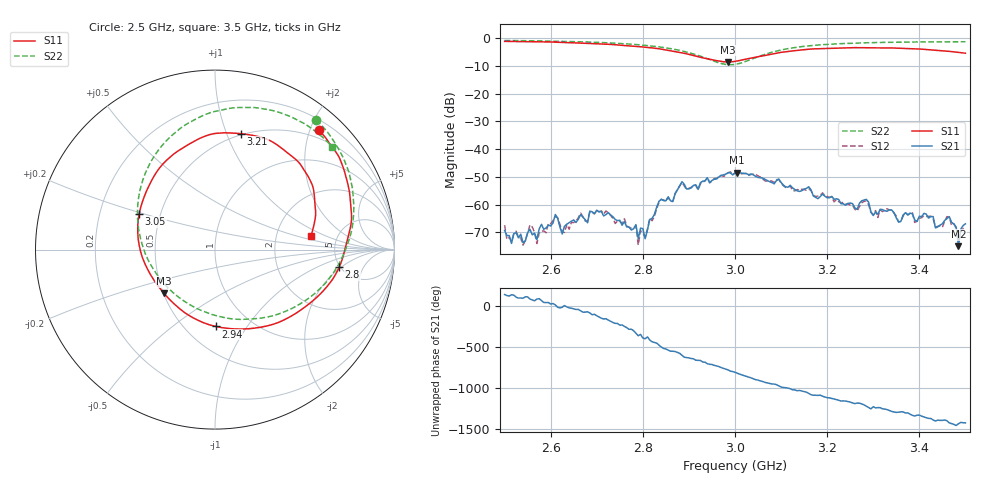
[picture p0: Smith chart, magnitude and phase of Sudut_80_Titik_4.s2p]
# Hz S RI R 50
! CMT, C1220, 16058040, 17.2.0/1
! Date: 15/08/2018 10:32:07
! Data: Format (Calibration Info)
! Freq  S11: Re/Im (F2)  S21: Re/Im (F2)  S12: Re/Im (F2)  S22: Re/Im (F2)
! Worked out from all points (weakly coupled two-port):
!   201 points, 2.5 GHz to 3.5 GHz, reference 50 ohm
!   highest |S21| = -48.44 dB at 3.005 GHz (marker M1); lowest = -75.0 dB at 3.485 GHz (marker M2)
!   lowest |S11| = -8.5 dB at 2.985 GHz (marker M3), VSWR 2.20, Z = 25.1 - j14.2 ohm
!   |S11| at or under -10 dB: nowhere
!   |S22| runs from -9.5 to -0.8 dB; largest |S21 - S12| = 0.00031
!   S11 on the Smith chart (normalised r, x): 2.5 GHz: 0.36, +2.15; 2.8 GHz: 4.89, -1.88; 2.94 GHz: 0.70, -0.73; 3.05 GHz: 0.38, +0.19; 3.21 GHz: 0.49, +1.12; 3.5 GHz: 3.18, +0.68
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2.5e9  0.5803 0.6649  -0.000273 0.000204  -0.000336 0.000262  0.5648 0.7222
2.54e9  0.6297 0.6038  -2.96e-05 0.000204  -1.97e-05 0.000184  0.6103 0.6741
2.555e9  0.6444 0.5807  1.18e-05 0.000359  -5.89e-05 0.000427  0.6266 0.6553
2.57e9  0.6647 0.5555  1.01e-05 0.000233  7.02e-05 0.000186  0.6424 0.633
2.61e9  0.7038 0.4854  0.000633 0.000196  0.000571 0.000225  0.6833 0.5694
2.625e9  0.718 0.4465  0.00029 -5.88e-05  0.000306 -9.72e-05  0.6979 0.5431
2.67e9  0.7461 0.3376  0.000185 -0.000564  0.000165 -0.000581  0.7384 0.452
2.79e9  0.7084 -0.0555  0.000242 4.19e-06  0.000186 2.08e-05  0.7614 0.1073
2.8e9  0.6916 -0.0984  0.00033 -0.000163  0.000296 -9.76e-05  0.7519 0.0715
2.805e9  0.6823 -0.1182  0.000196 -0.000143  0.000225 -0.00013  0.7459 0.0528
2.835e9  0.6088 -0.2237  -0.000455 -0.00105  -0.000393 -0.00102  0.6988 -0.063
2.94e9  0.00429 -0.4282  0.00288 0.00103  0.00288 0.00103  0.1823 -0.3875
2.985e9  -0.285 -0.2428  0.00212 -0.0031  0.00223 -0.00303  -0.1696 -0.2888
3e9  -0.355 -0.147  0.000383 -0.00371  0.000215 -0.00371  -0.2702 -0.2044
3.005e9  -0.3739 -0.1129  -0.000439 -0.00376  -0.000521 -0.00357  -0.2989 -0.1708
3.05e9  -0.4224 0.1984  -0.00309 -7.77e-06  -0.00329 5.44e-05  -0.4316 0.1756
3.17e9  -0.00856 0.6456  0.00143 -0.000121  0.00148 2.95e-06  -0.0763 0.7429
3.21e9  0.1443 0.6456  0.00101 -0.000983  0.000903 -0.00104  0.0695 0.7845
3.335e9  0.4692 0.4832  -0.000792 0.000147  -0.000781 0.00017  0.4023 0.7482
3.465e9  0.5576 0.169  0.000578 0.000186  0.000568 0.000157  0.6113 0.616
3.485e9  0.5466 0.1165  0.000176 2.52e-05  0.000235 2.3e-05  0.6348 0.5912
3.5e9  0.5339 0.0763  0.000427 0.000141  0.00033 8.17e-05  0.6517 0.5743
